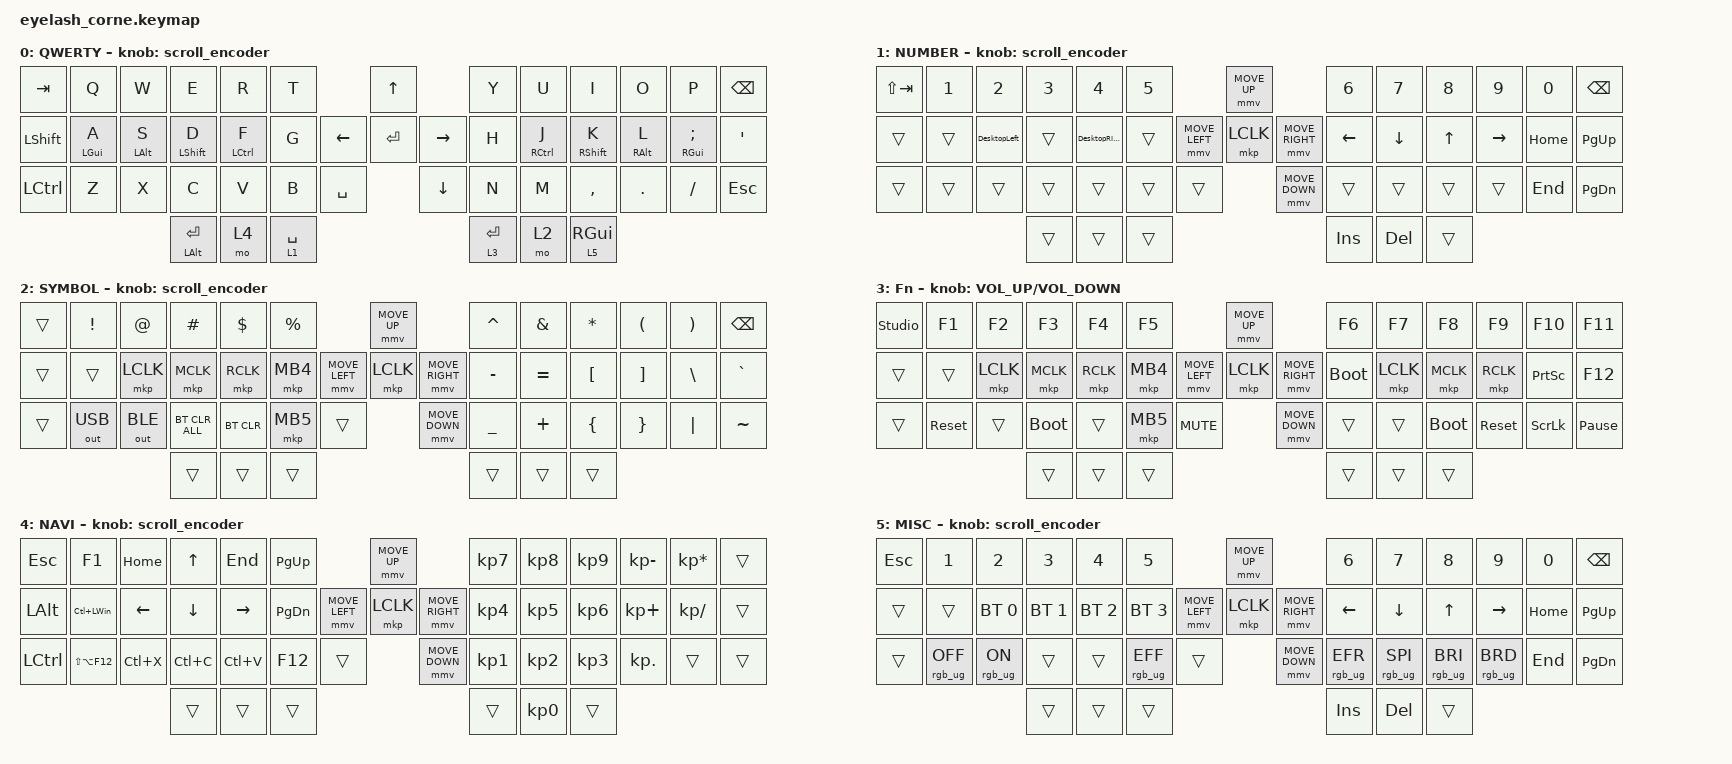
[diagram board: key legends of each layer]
#define ZMK_POINTING_DEFAULT_MOVE_VAL 1200  // 600
#define ZMK_POINTING_DEFAULT_SCRL_VAL 25   // 10

#include <input/processors.dtsi>
#include <zephyr/dt-bindings/input/input-event-codes.h>
#include <behaviors.dtsi>
#include <dt-bindings/zmk/bt.h>
#include <dt-bindings/zmk/keys.h>
#include <dt-bindings/zmk/outputs.h>
#include <dt-bindings/zmk/pointing.h>
#include <dt-bindings/zmk/rgb.h>

&mmv_input_listener { input-processors = <&zip_xy_scaler 2 1>; };

&msc_input_listener { input-processors = <&zip_scroll_scaler 2 1>; };

&msc {
    acceleration-exponent = <1>;      // 0
    time-to-max-speed-ms = <100>;       // 300
    delay-ms = <0>;                   // 0
};

&mmv {
    time-to-max-speed-ms = <500>;
    acceleration-exponent = <1>;
    trigger-period-ms = <16>;
};

&soft_off { hold-time-ms = <2000>; };

/ {
    macros {
        mo_rgb1: mo_rgb1 {
            compatible = "zmk,behavior-macro";
            #binding-cells = <0>;
            wait-ms = <0>;
            tap-ms = <0>;
            bindings =
                <&macro_press>,
                <&mo 1>,
                <&macro_tap>,
                <&rgb_ug RGB_COLOR_HSB(60,100,100)>,
                <&macro_pause_for_release>,
                <&macro_release>,
                <&mo 1>,
                <&macro_tap>,
                <&rgb_ug RGB_COLOR_HSB(128,100,1)>;
        };

        mo_rgb2: mo_rgb2 {
            compatible = "zmk,behavior-macro";
            #binding-cells = <0>;
            wait-ms = <0>;
            tap-ms = <0>;
            bindings =
                <&macro_press>,
                <&mo 2>,
                <&macro_tap>,
                <&rgb_ug RGB_COLOR_HSB(300,100,100)>,
                <&macro_pause_for_release>,
                <&macro_release>,
                <&mo 2>,
                <&macro_tap>,
                <&rgb_ug RGB_COLOR_HSB(128,100,1)>;
        };

        mo_rgb3: mo_rgb3 {
            compatible = "zmk,behavior-macro";
            #binding-cells = <0>;
            wait-ms = <0>;
            tap-ms = <0>;
            bindings =
                <&macro_press>,
                <&mo 3>,
                <&macro_tap>,
                <&rgb_ug RGB_COLOR_HSB(180,100,100)>,
                <&macro_pause_for_release>,
                <&macro_release>,
                <&mo 3>,
                <&macro_tap>,
                <&rgb_ug RGB_COLOR_HSB(128,100,1)>;
        };

        mo_rgb4: mo_rgb4 {
            compatible = "zmk,behavior-macro";
            #binding-cells = <0>;
            wait-ms = <0>;
            tap-ms = <0>;
            bindings =
                <&macro_press>,
                <&mo 4>,
                <&macro_tap>,
                <&rgb_ug RGB_COLOR_HSB(30,100,100)>,
                <&macro_pause_for_release>,
                <&macro_release>,
                <&mo 4>,
                <&macro_tap>,
                <&rgb_ug RGB_COLOR_HSB(128,100,1)>;
        };

        DesktopRIght: DesktopRIght {
            compatible = "zmk,behavior-macro";
            #binding-cells = <0>;
            bindings =
                <&macro_press>,
                <&kp LEFT_CONTROL &kp LEFT_GUI>,
                <&macro_tap>,
                <&kp RIGHT_ARROW>,
                <&macro_release>,
                <&kp LEFT_CONTROL &kp LEFT_GUI>;

            label = "DESKTOPRIGHT";
        };

        DesktopLeft: DesktopLeft {
            compatible = "zmk,behavior-macro";
            #binding-cells = <0>;
            bindings =
                <&macro_press>,
                <&kp LEFT_CONTROL &kp LEFT_GUI>,
                <&macro_tap>,
                <&kp LEFT_ARROW>,
                <&macro_release>,
                <&kp LEFT_CONTROL &kp LEFT_GUI>;

            label = "DESKTOPLEFT";
        };
    };

    behaviors {
        lt_rgb1: lt_rgb1 {
            compatible = "zmk,behavior-hold-tap";
            label = "LAYER_TAP_RGB_1";
            #binding-cells = <2>;
            tapping-term-ms = <200>;
            quick-tap-ms = <125>;
            flavor = "balanced";
            bindings = <&mo_rgb1>, <&kp>;
        };

        lt_rgb2: lt_rgb2 {
            compatible = "zmk,behavior-hold-tap";
            label = "LAYER_TAP_RGB_2";
            #binding-cells = <2>;
            tapping-term-ms = <200>;
            quick-tap-ms = <125>;
            flavor = "balanced";
            bindings = <&mo_rgb2>, <&kp>;
        };

        lt_rgb3: lt_rgb3 {
            compatible = "zmk,behavior-hold-tap";
            label = "LAYER_TAP_RGB_3";
            #binding-cells = <2>;
            tapping-term-ms = <200>;
            quick-tap-ms = <125>;
            flavor = "balanced";
            bindings = <&mo_rgb3>, <&kp>;
        };

        lt_rgb4: lt_rgb4 {
            compatible = "zmk,behavior-hold-tap";
            label = "LAYER_TAP_RGB_4";
            #binding-cells = <2>;
            tapping-term-ms = <200>;
            quick-tap-ms = <125>;
            flavor = "balanced";
            bindings = <&mo_rgb4>, <&kp>;
        };

        td0: td0 {
            compatible = "zmk,behavior-tap-dance";
            display-name = "Shift/Caps Lock Tap Dance";
            #binding-cells = <0>;
            bindings = <&kp LEFT_SHIFT>, <&kp CAPS>;
        };

        td_tab_esc: td_tab_esc {
            compatible = "zmk,behavior-tap-dance";
            display-name = "Shift/Caps Lock Tap Dance";
            #binding-cells = <0>;
            bindings = <&kp TAB>, <&kp ESCAPE>;

            label = "TD_TAB_ESC";
        };

        HRMRight: HRMRight {
            compatible = "zmk,behavior-hold-tap";
            label = "HRMRIGHT";
            bindings = <&kp>, <&kp>;

            #binding-cells = <2>;
            tapping-term-ms = <300>;
            flavor = "tap-preferred";
            hold-trigger-key-positions = <0 1 2 3 4 5 13 14 15 16 17 18 28 29 30 31 32 33 34 42 43 44>;
            hold-trigger-on-release;
        };

        HRMLeft: HRMLeft {
            compatible = "zmk,behavior-hold-tap";
            label = "HRMLEFT";
            bindings = <&kp>, <&kp>;

            #binding-cells = <2>;
            tapping-term-ms = <300>;
            flavor = "tap-preferred";
            hold-trigger-on-release;
            hold-trigger-key-positions = <7 8 9 10 11 12 22 23 24 25 26 27 36 37 38 39 40 41 45 46 47>;
        };
    };

    rgb_encoder: rgb_encoder {
        compatible = "zmk,behavior-sensor-rotate";
        #sensor-binding-cells = <0>;
        bindings = <&rgb_ug RGB_BRI>, <&rgb_ug RGB_BRD>;
    };

    scroll_encoder: scroll_encoder {
        compatible = "zmk,behavior-sensor-rotate";
        #sensor-binding-cells = <0>;
        bindings = <&msc SCRL_DOWN>, <&msc SCRL_UP>;

        tap-ms = <100>;
    };

    combos {
        compatible = "zmk,combos";

        softoff {
            bindings = <&soft_off>;
            key-positions = <1 15 29>;
        };
    };

    keymap {
        compatible = "zmk,keymap";

        default_layer {
            display-name = "QWERTY";
            bindings = <
&kp TAB    &kp Q                &kp W                &kp E                  &kp R                    &kp T                               &kp UP                &kp Y        &kp U                      &kp I                    &kp O                  &kp P                     &kp BSPC
&kp LSHFT  &HRMLeft LEFT_GUI A  &HRMLeft LEFT_ALT S  &HRMLeft LEFT_SHIFT D  &HRMLeft LEFT_CONTROL F  &kp G                     &kp LEFT  &kp ENTER  &kp RIGHT  &kp H        &HRMRight RIGHT_CONTROL J  &HRMRight RIGHT_SHIFT K  &HRMRight RIGHT_ALT L  &HRMRight RIGHT_GUI SEMI  &kp SQT
&kp LCTRL  &kp Z                &kp X                &kp C                  &kp V                    &kp B        &kp SPACE              &kp DOWN              &kp N        &kp M                      &kp COMMA                &kp DOT                &kp FSLH                  &kp ESCAPE
                                                     &mt LEFT_ALT ENTER     &mo 4                    &lt 1 SPACE                                               &lt 3 ENTER  &mo 2                      &lt 5 RIGHT_GUI
            >;

            sensor-bindings = <&scroll_encoder>;
        };

        lower_layer {
            display-name = "NUMBER";
            bindings = <
&kp LS(TAB)  &kp N1  &kp N2        &kp N3  &kp N4         &kp N5                            &mmv MOVE_UP                     &kp N6    &kp N7    &kp N8  &kp N9     &kp N0    &kp BSPC
&trans       &trans  &DesktopLeft  &trans  &DesktopRIght  &trans            &mmv MOVE_LEFT  &mkp LCLK       &mmv MOVE_RIGHT  &kp LEFT  &kp DOWN  &kp UP  &kp RIGHT  &kp HOME  &kp PG_UP
&trans       &trans  &trans        &trans  &trans         &trans  &trans                    &mmv MOVE_DOWN                   &trans    &trans    &trans  &trans     &kp END   &kp PG_DN
                                   &trans  &trans         &trans                                                             &kp INS   &kp DEL   &trans
            >;

            sensor-bindings = <&scroll_encoder>;
        };

        raise_layer {
            display-name = "SYMBOL";
            bindings = <
&trans  &kp EXCL      &kp AT        &kp HASH        &kp DLLR    &kp PRCNT                            &mmv MOVE_UP                     &kp CARET  &kp AMPS   &kp ASTRK  &kp LPAR  &kp RPAR  &kp BSPC
&trans  &trans        &mkp LCLK     &mkp MCLK       &mkp RCLK   &mkp MB4             &mmv MOVE_LEFT  &mkp LCLK       &mmv MOVE_RIGHT  &kp MINUS  &kp EQUAL  &kp LBKT   &kp RBKT  &kp BSLH  &kp GRAVE
&trans  &out OUT_USB  &out OUT_BLE  &bt BT_CLR_ALL  &bt BT_CLR  &mkp MB5   &trans                    &mmv MOVE_DOWN                   &kp UNDER  &kp PLUS   &kp LBRC   &kp RBRC  &kp PIPE  &kp TILDE
                                    &trans          &trans      &trans                                                                &trans     &trans     &trans
            >;

            sensor-bindings = <&scroll_encoder>;
        };

        func_layer {
            display-name = "Fn";
            bindings = <
&studio_unlock  &kp F1      &kp F2     &kp F3       &kp F4     &kp F5                                  &mmv MOVE_UP                     &kp F6       &kp F7     &kp F8       &kp F9      &kp F10          &kp F11
&trans          &trans      &mkp LCLK  &mkp MCLK    &mkp RCLK  &mkp MB4                &mmv MOVE_LEFT  &mkp LCLK       &mmv MOVE_RIGHT  &bootloader  &mkp LCLK  &mkp MCLK    &mkp RCLK   &kp PRINTSCREEN  &kp F12
&trans          &sys_reset  &trans     &bootloader  &trans     &mkp MB5  &kp C_MUTE                    &mmv MOVE_DOWN                   &trans       &trans     &bootloader  &sys_reset  &kp SCROLLLOCK   &kp PAUSE_BREAK
                                       &trans       &trans     &trans                                                                   &trans       &trans     &trans
            >;

            sensor-bindings = <&inc_dec_kp C_VOLUME_UP C_VOLUME_DOWN>;
        };

        navi_layer {
            display-name = "NAVI";
            bindings = <
&kp ESCAPE        &kp F1            &kp HOME        &kp UP_ARROW    &kp END          &kp PAGE_UP                              &mmv MOVE_UP                     &kp KP_NUMBER_7  &kp KP_NUMBER_8  &kp KP_NUMBER_9  &kp KP_MINUS  &kp KP_ASTERISK  &trans
&kp LEFT_ALT      &kp LC(LEFT_WIN)  &kp LEFT_ARROW  &kp DOWN_ARROW  &kp RIGHT_ARROW  &kp PAGE_DOWN            &mmv MOVE_LEFT  &mkp LCLK       &mmv MOVE_RIGHT  &kp KP_NUMBER_4  &kp KP_NUMBER_5  &kp KP_N6        &kp KP_PLUS   &kp KP_DIVIDE    &trans
&kp LEFT_CONTROL  &kp LS(LA(F12))   &kp LC(X)       &kp LC(C)       &kp LC(V)        &kp F12        &trans                    &mmv MOVE_DOWN                   &kp KP_NUMBER_1  &kp KP_NUMBER_2  &kp KP_N3        &kp KP_DOT    &trans           &trans
                                                    &trans          &trans           &trans                                                                    &trans           &kp KP_NUMBER_0  &trans
            >;

            sensor-bindings = <&scroll_encoder>;
        };

        MISC_LAYER {
            display-name = "MISC";
            bindings = <
&kp ESCAPE  &kp N1           &kp N2          &kp N3        &kp N4        &kp N5                                     &mmv MOVE_UP                     &kp N6           &kp N7           &kp N8           &kp N9           &kp N0    &kp BSPC
&trans      &trans           &bt BT_SEL 0    &bt BT_SEL 1  &bt BT_SEL 2  &bt BT_SEL 3               &mmv MOVE_LEFT  &mkp LCLK       &mmv MOVE_RIGHT  &kp LEFT         &kp DOWN         &kp UP           &kp RIGHT        &kp HOME  &kp PG_UP
&trans      &rgb_ug RGB_OFF  &rgb_ug RGB_ON  &trans        &trans        &rgb_ug RGB_EFF  &trans                    &mmv MOVE_DOWN                   &rgb_ug RGB_EFR  &rgb_ug RGB_SPI  &rgb_ug RGB_BRI  &rgb_ug RGB_BRD  &kp END   &kp PG_DN
                                             &trans        &trans        &trans                                                                      &kp INS          &kp DEL          &trans
            >;

            sensor-bindings = <&scroll_encoder>;
        };
    };
};
